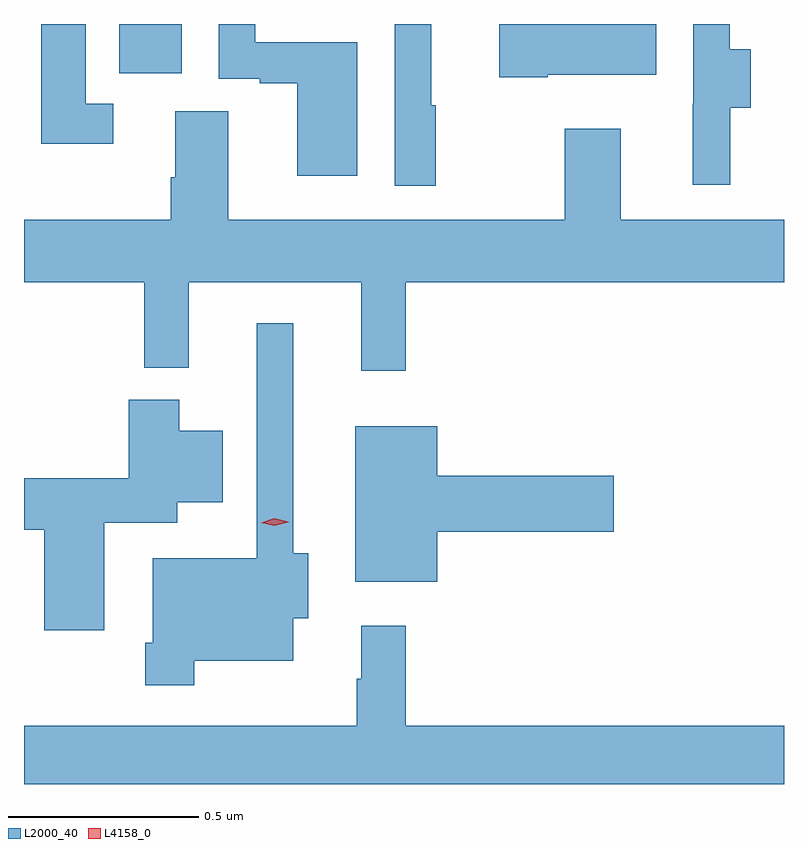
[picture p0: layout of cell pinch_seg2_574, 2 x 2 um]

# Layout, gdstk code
import gdstk
lib = gdstk.Library(unit=1e-6, precision=1e-09)
def R(c, l, rs):  # rectangles x0, y0, x1, y1
    for r in rs: c.add(gdstk.rectangle(r[:2], r[2:], *l))
def P(c, l, *ps):  # polygons
    for p in ps: c.add(gdstk.Polygon(p, *l))
L2000_40 = (2000, 40)
L4158_0 = (4158, 0)

pinch_seg2_574 = lib.new_cell('pinch_seg2_574')
R(pinch_seg2_574, L2000_40, [(1097.942,609.558,1098.106,609.687)])
P(pinch_seg2_574, L2000_40, [(1098.568,609.639),(1098.299,609.639),(1098.299,609.687),(1098.204,609.687),(1098.204,609.543),(1098.311,609.543),(1098.311,609.531),(1098.41,609.531),(1098.41,609.288),(1098.568,609.288)],
  [(1097.926,609.477),(1097.853,609.477),(1097.853,609.687),(1097.737,609.687),(1097.737,609.372),(1097.926,609.372)],
  [(1099.549,609.466),(1099.603,609.466),(1099.603,609.621),(1099.548,609.621),(1099.548,609.687),(1099.452,609.687),(1099.452,609.477),(1099.451,609.477),(1099.451,609.264),(1099.549,609.264)],
  [(1098.775,609.473),(1098.763,609.473),(1098.763,609.687),(1098.666,609.687),(1098.666,609.261),(1098.775,609.261)],
  [(1099.069,609.554),(1099.355,609.554),(1099.355,609.687),(1098.941,609.687),(1098.941,609.547),(1099.069,609.547)],
  [(1098.695,609.008),(1099.691,609.008),(1099.691,609.172),(1099.261,609.172),(1099.261,609.412),(1099.114,609.412),(1099.114,609.172),(1098.229,609.172),(1098.229,609.458),(1098.089,609.458),(1098.089,609.284),(1098.077,609.284),(1098.077,609.172),(1097.691,609.172),(1097.691,609.008),(1098.007,609.008),(1098.007,608.783),(1098.125,608.783),(1098.125,609.008),(1098.578,609.008),(1098.578,608.775),(1098.695,608.775)],
  [(1098.139,608.012),(1098.4,608.012),(1098.4,608.123),(1098.439,608.123),(1098.439,608.294),(1098.4,608.294),(1098.4,608.899),(1098.303,608.899),(1098.303,608.281),(1098.03,608.281),(1098.03,608.059),(1098.01,608.059),(1098.01,607.947),(1098.139,607.947)],
  [(1097.902,608.375),(1098.094,608.375),(1098.094,608.429),(1098.214,608.429),(1098.214,608.617),(1098.1,608.617),(1098.1,608.698),(1097.966,608.698),(1097.966,608.492),(1097.691,608.492),(1097.691,608.356),(1097.744,608.356),(1097.744,608.091),(1097.902,608.091)],
  [(1098.778,608.351),(1099.243,608.351),(1099.243,608.498),(1098.778,608.498),(1098.778,608.629),(1098.563,608.629),(1098.563,608.219),(1098.778,608.219)],
  [(1099.691,607.84),(1098.695,607.84),(1098.695,608.104),(1098.578,608.104),(1098.578,607.964),(1098.567,607.964),(1098.567,607.84),(1097.691,607.84),(1097.691,607.687),(1099.691,607.687)])
P(pinch_seg2_574, L4158_0, [(1098.35,608.366),(1098.315,608.375),(1098.315,608.375),(1098.315,608.375),(1098.35,608.386),(1098.386,608.377),(1098.386,608.377),(1098.386,608.376)])

lib.write_gds('pinch_seg2_574.gds')
